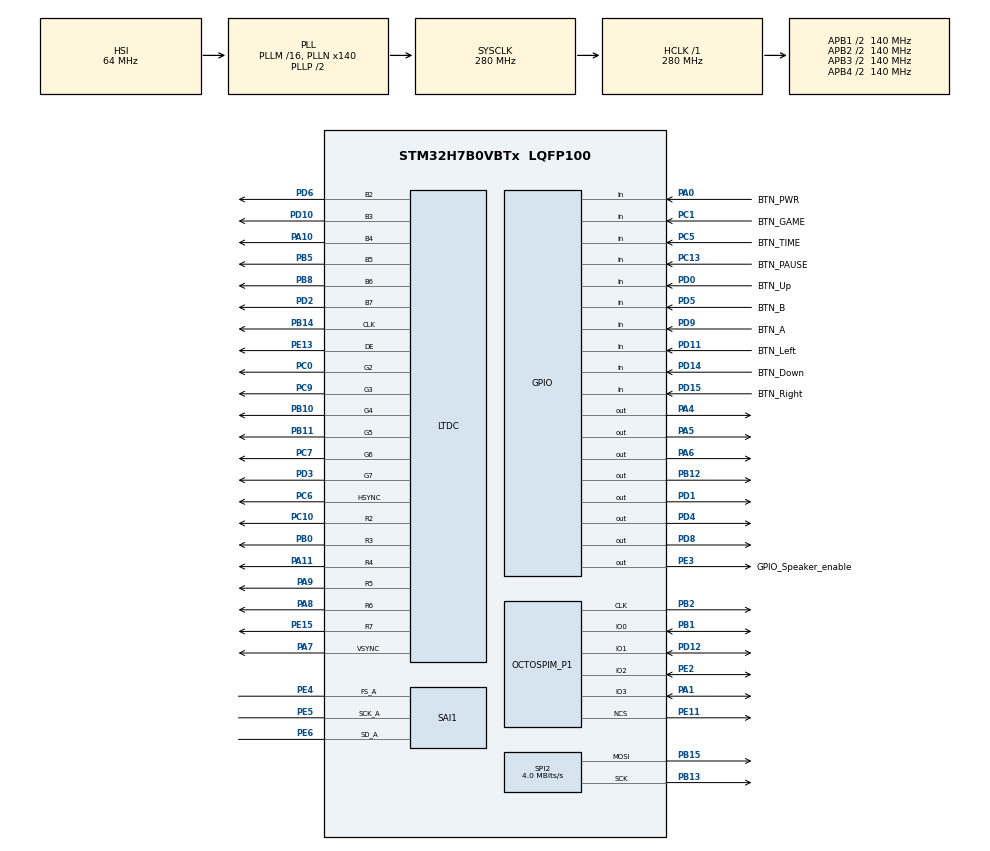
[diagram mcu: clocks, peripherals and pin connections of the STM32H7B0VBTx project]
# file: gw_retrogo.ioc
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SPI2.VirtualType=VM_MASTER
PB10.Mode=RGB666
SAI1.FIFOThreshold-SAI_A_Master=SAI_FIFOTHRESHOLD_FULL
PB13.Signal=SPI2_SCK
PA5.PinState=GPIO_PIN_SET
SAI1.Instance-SAI_A_Master=SAI$Index_Block_A
RCC.SYSCLKSource=RCC_SYSCLKSOURCE_PLLCLK
RCC.SPI123CLockSelection=RCC_SPI123CLKSOURCE_CLKP
OCTOSPI1.ChipSelectBoundary=0
CORTEX_M7.Enable-Cortex_Memory_Protection_Unit_Region0_Settings=MPU_REGION_ENABLE
PE2.Mode=OCTOSPI1_IOL_Port1L
PD4.Signal=GPIO_Output
PC7.Signal=LTDC_G6
PB12.PinState=GPIO_PIN_SET
PD0.Signal=GPIO_Input
PD8.Signal=GPIO_Output
PE5.Signal=SAI1_SCK_A
PB2.Signal=OCTOSPIM_P1_CLK
RCC.DIVM3=4
PC1.GPIO_PuPd=GPIO_PULLUP
VP_OCTOSPI1_VS_quad.Mode=quad_mode
RCC.DIVM2=25
RCC.DIVM1=16
LTDC.PixelFormat_L0=LTDC_PIXEL_FORMAT_L8
RCC.SAI1CLockSelection=RCC_SAI1CLKSOURCE_PLL2
Dma.SAI1_A.0.Polarity=HAL_DMAMUX_REQ_GEN_RISING
PB14.Mode=RGB666
PC9.Mode=RGB666
SPI2.CalculateBaudRate=4.0 MBits/s
PE2.Signal=OCTOSPIM_P1_IO2
PA8.Signal=LTDC_R6
PD14.GPIO_PuPd=GPIO_PULLUP
PE13.Mode=RGB666
NVIC.SAI1_IRQn=true\:0\:0\:false\:false\:true\:true\:true
PD3.Mode=RGB666
LTDC.HSync=10
PA0.Signal=GPIO_Input
Dma.SAI1_A.0.PeriphBurst=DMA_PBURST_SINGLE
Mcu.Package=LQFP100
PB1.Signal=OCTOSPIM_P1_IO0
SPI2.Mode=SPI_MODE_MASTER
RCC.PLL3FRACN=0
PD12.Signal=OCTOSPIM_P1_IO1
PA10.Signal=LTDC_B4
Dma.SAI1_A.0.SyncSignalID=NONE
SAI1.VirtualMode-SAI_A_Master=VM_MASTER
LTDC.VSync=2
RCC.APB4Freq_Value=140000000
PB13.Mode=TX_Only_Simplex_Unidirect_Master
PD9.GPIO_PuPd=GPIO_PULLUP
PD15.Signal=GPIO_Input
Dma.SAI1_A.0.FIFOThreshold=DMA_FIFO_THRESHOLD_FULL
PD9.GPIO_Label=BTN_A
VP_SAI1_VP_$IpInstance_SAIA_SAI_BASIC.Mode=SAI_A_BASIC
PC13.Signal=GPIO_Input
PD3.Signal=LTDC_G7
PC6.Signal=LTDC_HSYNC
PD1.Signal=GPIO_Output
RCC.DIVP2=5
PA6.PinState=GPIO_PIN_SET
PC0.Signal=LTDC_G2
PD6.Mode=RGB666
SAI1.RealAudioFreq-SAI_A_Master=48.0 KHz
LTDC.ImageWidth_L0=320
PD10.Signal=LTDC_B3
PD4.PinState=GPIO_PIN_RESET
RCC.CDPPRE1=RCC_APB1_DIV2
RCC.CDPPRE2=RCC_APB2_DIV2
PB11.Mode=RGB666
Dma.SAI1_A.0.RequestNumber=1
PC6.Mode=RGB666
PA9.Signal=LTDC_R5
RCC.DIVN3=9
RCC.DIVN2=192
RCC.DIVN1=140
CORTEX_M7.BaseAddress-Cortex_Memory_Protection_Unit_Region0_Settings=0x30000000
PB10.Signal=LTDC_G4
PB14.Signal=LTDC_CLK
PA5.Signal=GPIO_Output
Dma.SAI1_A.0.PeriphInc=DMA_PINC_DISABLE
PA1.Mode=OCTOSPI1_IOL_Port1L
PE6.Mode=SAI_A_Master
PE15.Signal=LTDC_R7
SAI1.MckOutput=SAI_MCK_OUTPUT_DISABLE
CORTEX_M7.AccessPermission-Cortex_Memory_Protection_Unit_Region0_Settings=MPU_REGION_FULL_ACCESS
Dma.SAI1_A.0.SyncRequestNumber=1
RCC.CDPPRE=RCC_APB3_DIV2
OCTOSPI1.FifoThreshold=4
PA4.Signal=GPIO_Output
OCTOSPI1.MemoryType=HAL_OSPI_MEMTYPE_MACRONIX
PB5.Signal=LTDC_B5
PD12.Mode=OCTOSPI1_IOL_Port1L
PD11.Signal=GPIO_Input
PD1.PinState=GPIO_PIN_RESET
LTDC.Alpha_L0=255
PA11.Signal=LTDC_R4
ProjectManager.HeapSize=0x200
PB1.Mode=OCTOSPI1_IOL_Port1L
PD0.GPIO_PuPd=GPIO_PULLUP
NVIC.PriorityGroup=NVIC_PRIORITYGROUP_4
OCTOSPI1.FreeRunningClock=HAL_OSPI_FREERUNCLK_DISABLE
PB8.Mode=RGB666
PE3.Signal=GPIO_Output
PA8.Mode=RGB666
SPI2.DataSize=SPI_DATASIZE_8BIT
PD2.Signal=LTDC_B7
RCC.DIVR3=24
RCC.DIVR2=5
PB0.Signal=LTDC_R3
Dma.SAI1_A.0.FIFOMode=DMA_FIFOMODE_ENABLE
PC1.Signal=GPIO_Input
Dma.SAI1_A.0.Instance=DMA1_Stream0
Dma.SAI1_A.0.PeriphDataAlignment=DMA_PDATAALIGN_HALFWORD
SAI1.InitProtocol-SAI_A_Master=Enable
LTDC.Alpha0_L0=255
PE15.Mode=RGB666
Mcu.Family=STM32H7
RCC.CortexFreq_Value=280000000
OCTOSPI1.DeviceSize=24
LTDC.HBP=51
PC10.Signal=LTDC_R2
PA0.GPIO_Label=BTN_PWR
SAI1.VirtualProtocol-SAI_A_BASIC=VM_BASIC_PROTOCOL
PD0.GPIO_Label=BTN_Up
PA11.Mode=RGB666
PC13.GPIO_Label=BTN_PAUSE
PB11.Signal=LTDC_G5
PB15.Signal=SPI2_MOSI
LTDC.PCPolarity=LTDC_PCPOLARITY_IIPC
ProjectManager.StackSize=0x400
PD11.GPIO_PuPd=GPIO_PULLUP
OCTOSPI1.ClockPrescaler=1
PE11.Mode=OCTOSPI1_Port1_NCS
RCC.HCLKFreq_Value=280000000
PD11.GPIO_Label=BTN_Left
LTDC.WindowX1_L0=320
PD10.Mode=RGB666
Dma.SAI1_A.0.SyncPolarity=HAL_DMAMUX_SYNC_NO_EVENT
SPI2.BaudRatePrescaler=SPI_BAUDRATEPRESCALER_16
PE3.PinState=GPIO_PIN_SET
LTDC.VBP=6
PE13.Signal=LTDC_DE
OCTOSPI1.ChipSelectHighTime=2
PB5.Mode=RGB666
PC13.GPIO_PuPd=GPIO_PULLUP
Dma.SAI1_A.0.EventEnable=DISABLE
LTDC.HFP=12
PE4.Mode=SAI_A_Master
LTDC.ActiveW=320
PE4.Signal=SAI1_FS_A
CORTEX_M7.DisableExec-Cortex_Memory_Protection_Unit_Region0_Settings=MPU_INSTRUCTION_ACCESS_DISABLE
RCC.APB3Freq_Value=140000000
PA6.Signal=GPIO_Output
Dma.SAI1_A.0.MemDataAlignment=DMA_MDATAALIGN_HALFWORD
PD5.GPIO_Label=BTN_B
PD15.GPIO_PuPd=GPIO_PULLUP
NVIC.DMA1_Stream0_IRQn=true\:0\:0\:false\:false\:true\:false\:true
SPI2.Direction=SPI_DIRECTION_2LINES_TXONLY
PC5.Signal=GPIO_Input
PD6.Signal=LTDC_B2
SAI1.MonoStereoMode-SAI_A_Master=SAI_MONOMODE
Dma.Request0=SAI1_A
RCC.SRDPPRE=RCC_APB4_DIV2
LTDC.FBStartAdress_L0=0x24000000
OCTOSPI1.ClockMode=HAL_OSPI_CLOCK_MODE_0
CORTEX_M7.CPU_ICache=Disabled
LTDC.VFP=8
PD15.GPIO_Label=BTN_Right
LTDC.WindowY1_L0=240
PA7.Mode=RGB666
PA10.Mode=RGB666
Dma.SAI1_A.0.Direction=DMA_MEMORY_TO_PERIPH
Dma.SAI1_A.0.SignalID=NONE
SPI2.NSSPMode=SPI_NSS_PULSE_DISABLE
PC10.Mode=RGB666
PD9.Signal=GPIO_Input
PD5.Signal=GPIO_Input
Dma.SAI1_A.0.MemInc=DMA_MINC_ENABLE
PC5.GPIO_PuPd=GPIO_PULLUP
PC0.Mode=RGB666
CORTEX_M7.MPU_Control=MPU_HFNMI_PRIVDEF
PA9.Mode=RGB666
PA4.PinState=GPIO_PIN_SET
ProjectManager.TargetToolchain=Makefile
Dma.SAI1_A.0.Mode=DMA_CIRCULAR
LTDC.ActiveH=240
SAI1.ErrorAudioFreq-SAI_A_Master=0.0 %
RCC.USBFreq_Value=280000000
PE11.Signal=OCTOSPIM_P1_NCS
PA1.Signal=OCTOSPIM_P1_IO3
SAI1.AudioFrequency-SAI_A_Master=SAI_AUDIO_FREQUENCY_48K
Dma.SAI1_A.0.Priority=DMA_PRIORITY_LOW
PD2.Mode=RGB666
PB0.Mode=RGB666
board=custom
PB15.Mode=TX_Only_Simplex_Unidirect_Master
RCC.APB2Freq_Value=140000000
LTDC.Layers=0
PE5.Mode=SAI_A_Master
RCC.ADCFreq_Value=98304000
PC1.GPIO_Label=BTN_GAME
PD5.GPIO_PuPd=GPIO_PULLUP
PD14.GPIO_Label=BTN_Down
PE6.Signal=SAI1_SD_A
Mcu.Name=STM32H7B0VBTx
CORTEX_M7.Size-Cortex_Memory_Protection_Unit_Region0_Settings=MPU_REGION_SIZE_128KB
NVIC.OCTOSPI1_IRQn=true\:0\:0\:false\:true\:true\:1\:true\:true
PD14.Signal=GPIO_Input
RCC.SYSCLKFreq_VALUE=280000000
PC5.GPIO_Label=BTN_TIME
PB2.Mode=O1_P1_CLK
RCC.QSPICLockSelection=RCC_OSPICLKSOURCE_CLKP
LTDC.Green_L0=255
Dma.SAI1_A.0.MemBurst=DMA_MBURST_SINGLE
PB8.Signal=LTDC_B6
PE3.GPIO_Label=GPIO_Speaker_enable
PC9.Signal=LTDC_G3
PC7.Mode=RGB666
RCC.APB1Freq_Value=140000000
PD8.PinState=GPIO_PIN_SET
LTDC.ImageHeight_L0=240
PB12.Signal=GPIO_Output
Dma.SAI1_A.0.SyncEnable=DISABLE
PA7.Signal=LTDC_VSYNC

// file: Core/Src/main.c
/* USER CODE BEGIN Header */
/**
  ******************************************************************************
  * @file           : main.c
  * @brief          : Main program body
  ******************************************************************************
  * @attention
  *
  * <h2><center>&copy; Copyright (c) 2020 STMicroelectronics.
  * All rights reserved.</center></h2>
  *
  * This software component is licensed by ST under BSD 3-Clause license,
  * the "License"; You may not use this file except in compliance with the
  * License. You may obtain a copy of the License at:
  *                        opensource.org/licenses/BSD-3-Clause
  *
  ******************************************************************************
  */
/* USER CODE END Header */
#include "main.h"

/* USER CODE BEGIN Includes */
#include "gw_buttons.h"
#include "gw_flash.h"
#include "gw_lcd.h"
#include "gw_linker.h"
#include <string.h>
/* USER CODE END Includes */

LTDC_HandleTypeDef hltdc;

OSPI_HandleTypeDef hospi1;

SAI_HandleTypeDef hsai_BlockA1;
DMA_HandleTypeDef hdma_sai1_a;

SPI_HandleTypeDef hspi2;

/* USER CODE BEGIN PV */

uint8_t nullpointer_guard[1024] __attribute__((section (".itcram_start")))  __attribute__((keep));

// uint16_t audiobuffer[48000] __attribute__((section (".audio")));
uint8_t extflash_variable[1] __attribute__((section (".extflash_data")));
uint8_t logbuf[1024 * 4];
uint32_t log_idx;

#define BOOT_MAGIC_STANDBY  0xfedebeda
#define BOOT_MAGIC_RESET    0x1fa1afe1
__attribute__((used)) __attribute__((section (".persistent"))) volatile uint32_t boot_magic;

/* USER CODE END PV */

void SystemClock_Config(void);
static void MPU_Config(void);
static void MX_GPIO_Init(void);
static void MX_DMA_Init(void);
static void MX_LTDC_Init(void);
static void MX_SPI2_Init(void);
static void MX_OCTOSPI1_Init(void);
static void MX_SAI1_Init(void);
static void MX_NVIC_Init(void);
/* USER CODE BEGIN PFP */

void app_main(void);

/* USER CODE END PFP */

/* USER CODE BEGIN 0 */

#if 1
int _write(int file, char *ptr, int len)
{
  if (log_idx + len + 1 > sizeof(logbuf)) {
    log_idx = 0;
  }

  memcpy(&logbuf[log_idx], ptr, len);
  log_idx += len;
  logbuf[log_idx + 1] = '\0';

  return len;
}
#endif

void store_save(uint8_t *data, size_t size) {
  // Sanity checks for save-game support.
  uint32_t save_size = &__SAVE_END__ - &__SAVE_START__;
  if(save_size < 64 * 1024) {
    // Invalid savegame size
    return;
  }

  uint32_t save_address = &__SAVE_START__ - &__EXTFLASH_START__;

  if(size > (64 * 1024)) {
    // Max Save size
    Error_Handler();
  }
  OSPI_DisableMemoryMapped(&hospi1);
  OSPI_NOR_WriteEnable(&hospi1);
  OSPI_BlockErase(&hospi1, save_address);
  OSPI_Program(&hospi1, save_address, data, size);
  OSPI_EnableMemoryMappedMode(&hospi1);
}

void GW_EnterDeepSleep(void)
{
  // Stop SAI DMA (audio)
  HAL_SAI_DMAStop(&hsai_BlockA1);

  // Enable wakup by PIN1, the power button
  HAL_PWR_EnableWakeUpPin(PWR_WAKEUP_PIN1_LOW);

  lcd_backlight_off();

  // Leave a trace in RAM that we entered standby mode
  boot_magic = BOOT_MAGIC_STANDBY;

  // Delay 500ms to give us a chance to attach a debugger in case
  // we end up in a suspend-loop.
  HAL_Delay(500);

  HAL_PWR_EnterSTANDBYMode();

  // Execution stops here, this function will not return
  while(1) {
    __NOP();
  }

}

/* USER CODE END 0 */

int main(void)
{
  /* USER CODE BEGIN 1 */

  for(int i = 0; i < 1000000; i++) {
    __NOP();
  }

  switch (boot_magic) {
  case BOOT_MAGIC_STANDBY:
    printf("Boot from standby. boot_magic=0x%08x\n", boot_magic);
    break;
  case BOOT_MAGIC_RESET:
    printf("Boot from warm reset. boot_magic=0x%08x\n", boot_magic);
    break;
  default:
    printf("Boot from brownout? boot_magic=0x%08x\n", boot_magic);
    break;
  }

  // Leave a trace that indicates a warm reset
  boot_magic = BOOT_MAGIC_RESET;

  /* USER CODE END 1 */

  /* MPU Configuration--------------------------------------------------------*/
  MPU_Config();

  /* MCU Configuration--------------------------------------------------------*/

  /* Reset of all peripherals, Initializes the Flash interface and the Systick. */
  HAL_Init();

  /* USER CODE BEGIN Init */

  // Power pin as Input
  HAL_PWR_DisableWakeUpPin(PWR_WAKEUP_PIN1_LOW);

  /* USER CODE END Init */

  /* Configure the system clock */
  SystemClock_Config();

  /* Initialize all configured peripherals */
  MX_GPIO_Init();
  MX_DMA_Init();
  MX_LTDC_Init();
  MX_SPI2_Init();
  MX_OCTOSPI1_Init();
  MX_SAI1_Init();

  /* Initialize interrupts */
  MX_NVIC_Init();
  /* USER CODE BEGIN 2 */

  // Keep this
  HAL_Delay(500);

  lcd_init(&hspi2, &hltdc);
  memset(framebuffer1, 0x10, 320*240*2);

  /* USER CODE END 2 */

  /* Infinite loop */
  /* USER CODE BEGIN WHILE */

  SCB_EnableICache();
  SCB_EnableDCache();

  // Initialize the external flash

  // SPI_MODE or QUAD_MODE (IS25WP128F & co) or HALF_QUAD_MODE (MX25U8035F/Nintendo Stock Flash)
  quad_mode_t quad_mode = HALF_QUAD_MODE;

  OSPI_Init(&hospi1, quad_mode);

  OSPI_EnableMemoryMappedMode(&hospi1);

  // Copy instructions and data from extflash to axiram
  extern uint32_t _siramdata;
  extern uint32_t _sram_text;
  extern uint32_t _eram_data;
  uint32_t copy_areas[4];

  copy_areas[0] = (uint32_t) &_siramdata;  // 0x90000000
  copy_areas[1] = (uint32_t) &_sram_text;  // 0x24000000
  copy_areas[2] = (uint32_t) &_eram_data;  // 0x24000000 + length
  copy_areas[3] = copy_areas[2] - copy_areas[1];
  memcpy(copy_areas[1], copy_areas[0], copy_areas[2] - copy_areas[1]);

  // Sanity check, sometimes this is triggered
  uint32_t add = 0x90000000;
  uint32_t* ptr = (uint32_t*)add;
  if(*ptr == 0x88888888) {
    Error_Handler();
  }

  // Launch the emulator
  app_main();

  while (1)
  {
    /* USER CODE END WHILE */

  }
}

void SystemClock_Config(void)
{
  RCC_OscInitTypeDef RCC_OscInitStruct = {0};
  RCC_ClkInitTypeDef RCC_ClkInitStruct = {0};
  RCC_PeriphCLKInitTypeDef PeriphClkInitStruct = {0};

  /** Supply configuration update enable
  */
  HAL_PWREx_ConfigSupply(PWR_LDO_SUPPLY);
  /** Configure the main internal regulator output voltage
  */
  __HAL_PWR_VOLTAGESCALING_CONFIG(PWR_REGULATOR_VOLTAGE_SCALE0);

  while(!__HAL_PWR_GET_FLAG(PWR_FLAG_VOSRDY)) {}
  /** Macro to configure the PLL clock source
  */
  __HAL_RCC_PLL_PLLSOURCE_CONFIG(RCC_PLLSOURCE_HSI);
  /** Initializes the RCC Oscillators according to the specified parameters
  * in the RCC_OscInitTypeDef structure.
  */
  RCC_OscInitStruct.OscillatorType = RCC_OSCILLATORTYPE_HSI;
  RCC_OscInitStruct.HSIState = RCC_HSI_DIV1;
  RCC_OscInitStruct.HSICalibrationValue = RCC_HSICALIBRATION_DEFAULT;
  RCC_OscInitStruct.PLL.PLLState = RCC_PLL_ON;
  RCC_OscInitStruct.PLL.PLLSource = RCC_PLLSOURCE_HSI;
  RCC_OscInitStruct.PLL.PLLM = 16;
  RCC_OscInitStruct.PLL.PLLN = 140;
  RCC_OscInitStruct.PLL.PLLP = 2;
  RCC_OscInitStruct.PLL.PLLQ = 2;
  RCC_OscInitStruct.PLL.PLLR = 2;
  RCC_OscInitStruct.PLL.PLLRGE = RCC_PLL1VCIRANGE_2;
  RCC_OscInitStruct.PLL.PLLVCOSEL = RCC_PLL1VCOWIDE;
  RCC_OscInitStruct.PLL.PLLFRACN = 0;
  if (HAL_RCC_OscConfig(&RCC_OscInitStruct) != HAL_OK)
  {
    Error_Handler();
  }
  /** Initializes the CPU, AHB and APB buses clocks
  */
  RCC_ClkInitStruct.ClockType = RCC_CLOCKTYPE_HCLK|RCC_CLOCKTYPE_SYSCLK
                              |RCC_CLOCKTYPE_PCLK1|RCC_CLOCKTYPE_PCLK2
                              |RCC_CLOCKTYPE_D3PCLK1|RCC_CLOCKTYPE_D1PCLK1;
  RCC_ClkInitStruct.SYSCLKSource = RCC_SYSCLKSOURCE_PLLCLK;
  RCC_ClkInitStruct.SYSCLKDivider = RCC_SYSCLK_DIV1;
  RCC_ClkInitStruct.AHBCLKDivider = RCC_HCLK_DIV1;
  RCC_ClkInitStruct.APB3CLKDivider = RCC_APB3_DIV2;
  RCC_ClkInitStruct.APB1CLKDivider = RCC_APB1_DIV2;
  RCC_ClkInitStruct.APB2CLKDivider = RCC_APB2_DIV2;
  RCC_ClkInitStruct.APB4CLKDivider = RCC_APB4_DIV2;

  if (HAL_RCC_ClockConfig(&RCC_ClkInitStruct, FLASH_LATENCY_7) != HAL_OK)
  {
    Error_Handler();
  }
  PeriphClkInitStruct.PeriphClockSelection = RCC_PERIPHCLK_LTDC|RCC_PERIPHCLK_SPI2
                              |RCC_PERIPHCLK_SAI1|RCC_PERIPHCLK_OSPI
                              |RCC_PERIPHCLK_CKPER;
  PeriphClkInitStruct.PLL2.PLL2M = 25;
  PeriphClkInitStruct.PLL2.PLL2N = 192;
  PeriphClkInitStruct.PLL2.PLL2P = 5;
  PeriphClkInitStruct.PLL2.PLL2Q = 2;
  PeriphClkInitStruct.PLL2.PLL2R = 5;
  PeriphClkInitStruct.PLL2.PLL2RGE = RCC_PLL2VCIRANGE_1;
  PeriphClkInitStruct.PLL2.PLL2VCOSEL = RCC_PLL2VCOWIDE;
  PeriphClkInitStruct.PLL2.PLL2FRACN = 0;
  PeriphClkInitStruct.PLL3.PLL3M = 4;
  PeriphClkInitStruct.PLL3.PLL3N = 9;
  PeriphClkInitStruct.PLL3.PLL3P = 2;
  PeriphClkInitStruct.PLL3.PLL3Q = 2;
  PeriphClkInitStruct.PLL3.PLL3R = 24;
  PeriphClkInitStruct.PLL3.PLL3RGE = RCC_PLL3VCIRANGE_3;
  PeriphClkInitStruct.PLL3.PLL3VCOSEL = RCC_PLL3VCOWIDE;
  PeriphClkInitStruct.PLL3.PLL3FRACN = 0;
  PeriphClkInitStruct.OspiClockSelection = RCC_OSPICLKSOURCE_CLKP;
  PeriphClkInitStruct.CkperClockSelection = RCC_CLKPSOURCE_HSI;
  PeriphClkInitStruct.Sai1ClockSelection = RCC_SAI1CLKSOURCE_PLL2;
  PeriphClkInitStruct.Spi123ClockSelection = RCC_SPI123CLKSOURCE_CLKP;
  if (HAL_RCCEx_PeriphCLKConfig(&PeriphClkInitStruct) != HAL_OK)
  {
    Error_Handler();
  }
}

/**
  * @brief NVIC Configuration.
  * @retval None
  */
static void MX_NVIC_Init(void)
{
  /* OCTOSPI1_IRQn interrupt configuration */
  HAL_NVIC_SetPriority(OCTOSPI1_IRQn, 0, 0);
  HAL_NVIC_EnableIRQ(OCTOSPI1_IRQn);
}

static void MX_LTDC_Init(void)
{

  LTDC_LayerCfgTypeDef pLayerCfg = {0};

  hltdc.Instance = LTDC;
  hltdc.Init.HSPolarity = LTDC_HSPOLARITY_AL;
  hltdc.Init.VSPolarity = LTDC_VSPOLARITY_AL;
  hltdc.Init.DEPolarity = LTDC_DEPOLARITY_AL;
  hltdc.Init.PCPolarity = LTDC_PCPOLARITY_IIPC;
  hltdc.Init.HorizontalSync = 9;
  hltdc.Init.VerticalSync = 1;
  hltdc.Init.AccumulatedHBP = 60;
  hltdc.Init.AccumulatedVBP = 7;
  hltdc.Init.AccumulatedActiveW = 380;
  hltdc.Init.AccumulatedActiveH = 247;
  hltdc.Init.TotalWidth = 392;
  hltdc.Init.TotalHeigh = 255;
  hltdc.Init.Backcolor.Blue = 0;
  hltdc.Init.Backcolor.Green = 0;
  hltdc.Init.Backcolor.Red = 0;
  if (HAL_LTDC_Init(&hltdc) != HAL_OK)
  {
    Error_Handler();
  }
  pLayerCfg.WindowX0 = 0;
  pLayerCfg.WindowX1 = 320;
  pLayerCfg.WindowY0 = 0;
  pLayerCfg.WindowY1 = 240;
  pLayerCfg.PixelFormat = LTDC_PIXEL_FORMAT_L8;
  pLayerCfg.Alpha = 255;
  pLayerCfg.Alpha0 = 255;
  pLayerCfg.BlendingFactor1 = LTDC_BLENDING_FACTOR1_CA;
  pLayerCfg.BlendingFactor2 = LTDC_BLENDING_FACTOR2_CA;
  pLayerCfg.FBStartAdress = 0x24000000;
  pLayerCfg.ImageWidth = 320;
  pLayerCfg.ImageHeight = 240;
  pLayerCfg.Backcolor.Blue = 0;
  pLayerCfg.Backcolor.Green = 255;
  pLayerCfg.Backcolor.Red = 0;
  if (HAL_LTDC_ConfigLayer(&hltdc, &pLayerCfg, 0) != HAL_OK)
  {
    Error_Handler();
  }

}

static void MX_OCTOSPI1_Init(void)
{

  OSPIM_CfgTypeDef sOspiManagerCfg = {0};

  /* OCTOSPI1 parameter configuration*/
  hospi1.Instance = OCTOSPI1;
  hospi1.Init.FifoThreshold = 4;
  hospi1.Init.DualQuad = HAL_OSPI_DUALQUAD_DISABLE;
  hospi1.Init.MemoryType = HAL_OSPI_MEMTYPE_MACRONIX;
  hospi1.Init.DeviceSize = 24;
  hospi1.Init.ChipSelectHighTime = 2;
  hospi1.Init.FreeRunningClock = HAL_OSPI_FREERUNCLK_DISABLE;
  hospi1.Init.ClockMode = HAL_OSPI_CLOCK_MODE_0;
  hospi1.Init.WrapSize = HAL_OSPI_WRAP_NOT_SUPPORTED;
  hospi1.Init.ClockPrescaler = 1;
  hospi1.Init.SampleShifting = HAL_OSPI_SAMPLE_SHIFTING_NONE;
  hospi1.Init.DelayHoldQuarterCycle = HAL_OSPI_DHQC_DISABLE;
  hospi1.Init.ChipSelectBoundary = 0;
  hospi1.Init.ClkChipSelectHighTime = 0;
  hospi1.Init.DelayBlockBypass = HAL_OSPI_DELAY_BLOCK_BYPASSED;
  hospi1.Init.MaxTran = 0;
  hospi1.Init.Refresh = 0;
  if (HAL_OSPI_Init(&hospi1) != HAL_OK)
  {
    Error_Handler();
  }
  sOspiManagerCfg.ClkPort = 1;
  sOspiManagerCfg.NCSPort = 1;
  sOspiManagerCfg.IOLowPort = HAL_OSPIM_IOPORT_1_LOW;
  if (HAL_OSPIM_Config(&hospi1, &sOspiManagerCfg, HAL_OSPI_TIMEOUT_DEFAULT_VALUE) != HAL_OK)
  {
    Error_Handler();
  }

}

static void MX_SAI1_Init(void)
{

  hsai_BlockA1.Instance = SAI1_Block_A;
  hsai_BlockA1.Init.AudioMode = SAI_MODEMASTER_TX;
  hsai_BlockA1.Init.Synchro = SAI_ASYNCHRONOUS;
  hsai_BlockA1.Init.OutputDrive = SAI_OUTPUTDRIVE_DISABLE;
  hsai_BlockA1.Init.NoDivider = SAI_MASTERDIVIDER_ENABLE;
  hsai_BlockA1.Init.FIFOThreshold = SAI_FIFOTHRESHOLD_FULL;
  hsai_BlockA1.Init.AudioFrequency = SAI_AUDIO_FREQUENCY_48K;
  hsai_BlockA1.Init.SynchroExt = SAI_SYNCEXT_DISABLE;
  hsai_BlockA1.Init.MonoStereoMode = SAI_MONOMODE;
  hsai_BlockA1.Init.CompandingMode = SAI_NOCOMPANDING;
  hsai_BlockA1.Init.TriState = SAI_OUTPUT_NOTRELEASED;
  if (HAL_SAI_InitProtocol(&hsai_BlockA1, SAI_I2S_STANDARD, SAI_PROTOCOL_DATASIZE_16BIT, 2) != HAL_OK)
  {
    Error_Handler();
  }

}

static void MX_SPI2_Init(void)
{

  /* SPI2 parameter configuration*/
  hspi2.Instance = SPI2;
  hspi2.Init.Mode = SPI_MODE_MASTER;
  hspi2.Init.Direction = SPI_DIRECTION_2LINES_TXONLY;
  hspi2.Init.DataSize = SPI_DATASIZE_8BIT;
  hspi2.Init.CLKPolarity = SPI_POLARITY_LOW;
  hspi2.Init.CLKPhase = SPI_PHASE_1EDGE;
  hspi2.Init.NSS = SPI_NSS_SOFT;
  hspi2.Init.BaudRatePrescaler = SPI_BAUDRATEPRESCALER_16;
  hspi2.Init.FirstBit = SPI_FIRSTBIT_MSB;
  hspi2.Init.TIMode = SPI_TIMODE_DISABLE;
  hspi2.Init.CRCCalculation = SPI_CRCCALCULATION_DISABLE;
  hspi2.Init.CRCPolynomial = 0x0;
  hspi2.Init.NSSPMode = SPI_NSS_PULSE_DISABLE;
  hspi2.Init.NSSPolarity = SPI_NSS_POLARITY_LOW;
  hspi2.Init.FifoThreshold = SPI_FIFO_THRESHOLD_01DATA;
  hspi2.Init.TxCRCInitializationPattern = SPI_CRC_INITIALIZATION_ALL_ZERO_PATTERN;
  hspi2.Init.RxCRCInitializationPattern = SPI_CRC_INITIALIZATION_ALL_ZERO_PATTERN;
  hspi2.Init.MasterSSIdleness = SPI_MASTER_SS_IDLENESS_00CYCLE;
  hspi2.Init.MasterInterDataIdleness = SPI_MASTER_INTERDATA_IDLENESS_00CYCLE;
  hspi2.Init.MasterReceiverAutoSusp = SPI_MASTER_RX_AUTOSUSP_DISABLE;
  hspi2.Init.MasterKeepIOState = SPI_MASTER_KEEP_IO_STATE_DISABLE;
  hspi2.Init.IOSwap = SPI_IO_SWAP_DISABLE;
  if (HAL_SPI_Init(&hspi2) != HAL_OK)
  {
    Error_Handler();
  }

}

static void MX_DMA_Init(void)
{

  /* DMA controller clock enable */
  __HAL_RCC_DMA1_CLK_ENABLE();

  /* DMA interrupt init */
  /* DMA1_Stream0_IRQn interrupt configuration */
  HAL_NVIC_SetPriority(DMA1_Stream0_IRQn, 0, 0);
  HAL_NVIC_EnableIRQ(DMA1_Stream0_IRQn);

}

static void MX_GPIO_Init(void)
{
  GPIO_InitTypeDef GPIO_InitStruct = {0};

  /* GPIO Ports Clock Enable */
  __HAL_RCC_GPIOE_CLK_ENABLE();
  __HAL_RCC_GPIOC_CLK_ENABLE();
  __HAL_RCC_GPIOA_CLK_ENABLE();
  __HAL_RCC_GPIOB_CLK_ENABLE();
  __HAL_RCC_GPIOD_CLK_ENABLE();

  /*Configure GPIO pin Output Level */
  HAL_GPIO_WritePin(GPIO_Speaker_enable_GPIO_Port, GPIO_Speaker_enable_Pin, GPIO_PIN_SET);

  /*Configure GPIO pin Output Level */
  HAL_GPIO_WritePin(GPIOA, GPIO_PIN_4|GPIO_PIN_5|GPIO_PIN_6, GPIO_PIN_SET);

  /*Configure GPIO pin Output Level */
  HAL_GPIO_WritePin(GPIOB, GPIO_PIN_12, GPIO_PIN_SET);

  /*Configure GPIO pin Output Level */
  HAL_GPIO_WritePin(GPIOD, GPIO_PIN_8, GPIO_PIN_SET);

  /*Configure GPIO pin Output Level */
  HAL_GPIO_WritePin(GPIOD, GPIO_PIN_1|GPIO_PIN_4, GPIO_PIN_RESET);

  /*Configure GPIO pin : GPIO_Speaker_enable_Pin */
  GPIO_InitStruct.Pin = GPIO_Speaker_enable_Pin;
  GPIO_InitStruct.Mode = GPIO_MODE_OUTPUT_PP;
  GPIO_InitStruct.Pull = GPIO_NOPULL;
  GPIO_InitStruct.Speed = GPIO_SPEED_FREQ_LOW;
  HAL_GPIO_Init(GPIO_Speaker_enable_GPIO_Port, &GPIO_InitStruct);

  /*Configure GPIO pins : BTN_PAUSE_Pin BTN_GAME_Pin BTN_TIME_Pin */
  GPIO_InitStruct.Pin = BTN_PAUSE_Pin|BTN_GAME_Pin|BTN_TIME_Pin;
  GPIO_InitStruct.Mode = GPIO_MODE_INPUT;
  GPIO_InitStruct.Pull = GPIO_PULLUP;
  HAL_GPIO_Init(GPIOC, &GPIO_InitStruct);

  /*Configure GPIO pin : BTN_PWR_Pin */
  GPIO_InitStruct.Pin = BTN_PWR_Pin;
  GPIO_InitStruct.Mode = GPIO_MODE_INPUT;
  GPIO_InitStruct.Pull = GPIO_NOPULL;
  HAL_GPIO_Init(BTN_PWR_GPIO_Port, &GPIO_InitStruct);

  /*Configure GPIO pins : PA4 PA5 PA6 */
  GPIO_InitStruct.Pin = GPIO_PIN_4|GPIO_PIN_5|GPIO_PIN_6;
  GPIO_InitStruct.Mode = GPIO_MODE_OUTPUT_PP;
  GPIO_InitStruct.Pull = GPIO_NOPULL;
  GPIO_InitStruct.Speed = GPIO_SPEED_FREQ_LOW;
  HAL_GPIO_Init(GPIOA, &GPIO_InitStruct);

  /*Configure GPIO pin : PB12 */
  GPIO_InitStruct.Pin = GPIO_PIN_12;
  GPIO_InitStruct.Mode = GPIO_MODE_OUTPUT_PP;
  GPIO_InitStruct.Pull = GPIO_NOPULL;
  GPIO_InitStruct.Speed = GPIO_SPEED_FREQ_LOW;
  HAL_GPIO_Init(GPIOB, &GPIO_InitStruct);

  /*Configure GPIO pins : PD8 PD1 PD4 */
  GPIO_InitStruct.Pin = GPIO_PIN_8|GPIO_PIN_1|GPIO_PIN_4;
  GPIO_InitStruct.Mode = GPIO_MODE_OUTPUT_PP;
  GPIO_InitStruct.Pull = GPIO_NOPULL;
  GPIO_InitStruct.Speed = GPIO_SPEED_FREQ_LOW;
  HAL_GPIO_Init(GPIOD, &GPIO_InitStruct);

  /*Configure GPIO pins : BTN_A_Pin BTN_Left_Pin BTN_Down_Pin BTN_Right_Pin
                           BTN_Up_Pin BTN_B_Pin */
  GPIO_InitStruct.Pin = BTN_A_Pin|BTN_Left_Pin|BTN_Down_Pin|BTN_Right_Pin
                          |BTN_Up_Pin|BTN_B_Pin;
  GPIO_InitStruct.Mode = GPIO_MODE_INPUT;
  GPIO_InitStruct.Pull = GPIO_PULLUP;
  HAL_GPIO_Init(GPIOD, &GPIO_InitStruct);

}

/* MPU Configuration */

void MPU_Config(void)
{
  MPU_Region_InitTypeDef MPU_InitStruct = {0};

  /* Disables the MPU */
  HAL_MPU_Disable();
  /** Initializes and configures the Region and the memory to be protected
  */
  MPU_InitStruct.Enable = MPU_REGION_ENABLE;
  MPU_InitStruct.Number = MPU_REGION_NUMBER0;
  MPU_InitStruct.BaseAddress = 0x30000000;
  MPU_InitStruct.Size = MPU_REGION_SIZE_128KB;
  MPU_InitStruct.SubRegionDisable = 0x0;
  MPU_InitStruct.TypeExtField = MPU_TEX_LEVEL0;
  MPU_InitStruct.AccessPermission = MPU_REGION_FULL_ACCESS;
  MPU_InitStruct.DisableExec = MPU_INSTRUCTION_ACCESS_DISABLE;
  MPU_InitStruct.IsShareable = MPU_ACCESS_NOT_SHAREABLE;
  MPU_InitStruct.IsCacheable = MPU_ACCESS_NOT_CACHEABLE;
  MPU_InitStruct.IsBufferable = MPU_ACCESS_NOT_BUFFERABLE;

  HAL_MPU_ConfigRegion(&MPU_InitStruct);
  /* Enables the MPU */
  HAL_MPU_Enable(MPU_HFNMI_PRIVDEF);

}

void Error_Handler(void)
{
  /* USER CODE BEGIN Error_Handler_Debug */
  /* User can add his own implementation to report the HAL error return state */
  while(1) {
    // Blink display to indicate failure
    lcd_backlight_off();
    HAL_Delay(500);
    lcd_backlight_on();
    HAL_Delay(500);
  }
  /* USER CODE END Error_Handler_Debug */
}

/************************ (C) COPYRIGHT STMicroelectronics *****END OF FILE****/
